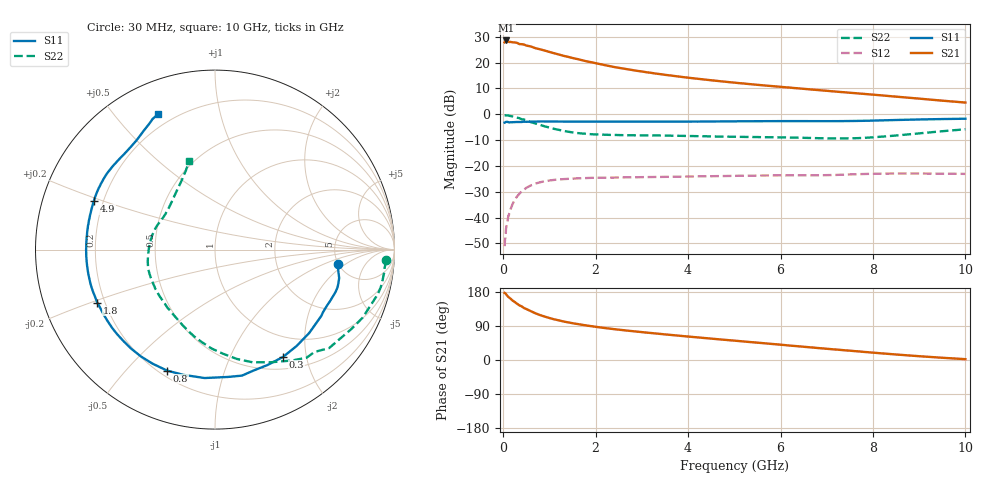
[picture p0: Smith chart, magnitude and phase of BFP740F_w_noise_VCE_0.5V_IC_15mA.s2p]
! Infineon Technologies  Discrete & RF Semiconductors
! BFP740F
! VCE =  0.5 V,  IC =  15 mA
! Common Emitter S-Parameters:  Oct 2012
# GHz  S  MA  R  50
!  f  S11  S21  S12  S22
! GHz  MAG  ANG  MAG  ANG  MAG  ANG  MAG  ANG
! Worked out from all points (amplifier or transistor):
!   99 points, 30 MHz to 10 GHz, reference 50 ohm
!   highest |S21| = 28.5 dB at 70 MHz (marker M1)
!   |S21| within 3 dB of that: start of sweep to 698.9 MHz
!   unconditionally stable (mu >= 1): 5.803 GHz to end of sweep
!   at 350 MHz: K = 0.04, MSG = 29.0 dB, |S12| = -30.8 dB
!   at 3.5 GHz: K = 0.66, MSG = 19.7 dB, |S12| = -24.2 dB
!   at 10 GHz: K = 1.41, MAG = 10.0 dB, |S12| = -23.1 dB
!   lowest NFmin = 0.53 dB at 450 MHz
!   S11 on the Smith chart (normalised r, x): 30 MHz: 4.94, -1.51; 300 MHz: 0.67, -1.61; 800 MHz: 0.23, -0.65; 1.8 GHz: 0.17, -0.21; 4.9 GHz: 0.16, +0.19; 10 GHz: 0.14, +0.65
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0.03  0.6886 -6.7  24.54 177.1  0.0028 82.0  0.9531 -3.6
0.07  0.7126 -15.1  26.74 172.2  0.0068 79.7  0.9498 -8.8
0.09  0.712 -19.4  26.4 169.1  0.0082 79.1  0.9485 -11.3
0.13  0.6962 -28.2  24.94 164.6  0.0121 79.0  0.9342 -16.6
0.2  0.7009 -41.5  24.62 157.1  0.0181 72.1  0.9054 -24.8
0.3  0.708 -57.6  24.01 148.4  0.0257 65.0  0.8558 -35.4
0.35  0.7066 -65.5  22.76 144.2  0.0289 62.2  0.8399 -40.8
0.45  0.718 -77.9  22.28 137.1  0.0347 55.7  0.7895 -49.7
0.6  0.7179 -94.6  20.43 128.7  0.042 47.5  0.7007 -63.6
0.7  0.7197 -104.2  18.91 123.1  0.0456 43.1  0.6616 -71.6
0.8  0.7252 -111.6  18.01 118.4  0.0483 39.2  0.6218 -78.6
1.1  0.723 -130.3  15.12 107.4  0.0536 30.2  0.5216 -97.9
1.4  0.7202 -143.0  12.91 99.4  0.0562 24.4  0.4604 -112.6
1.7  0.7174 -152.9  11.12 93.1  0.0579 20.5  0.4234 -125.7
1.8  0.7192 -155.8  10.58 91.1  0.0582 19.4  0.4179 -129.5
2.4  0.7187 -169.1  8.191 81.4  0.0595 14.8  0.398 -146.8
3.4  0.7179 175.9  5.959 68.8  0.0612 11.0  0.3875 -163.5
4.9  0.7272 158.1  4.165 52.1  0.064 7.5  0.3674 177.9
5.1  0.7299 156.0  4 50.0  0.0644 7.1  0.3653 175.4
6.7  0.7342 139.1  2.988 32.9  0.0658 4.2  0.3463 155.0
8.5  0.773 120.8  2.188 14.5  0.0714 0.4  0.3871 123.9
10  0.8184 113.0  1.681 2.2  0.0701 -3.6  0.5121 106.4
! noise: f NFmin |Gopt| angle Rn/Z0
0.45  0.53  0.1  7  0.57
0.9  0.59  0.1  17  0.24
1.5  0.65  0.1  30  0.04
1.9  0.7  0.1  43  0.03
2.4  0.74  0.1  60  0.03
3.5  0.85  0.09  78  0.13
5.5  1.03  0.07  170  0.18
10  1.4  0.38  -111  0.12
